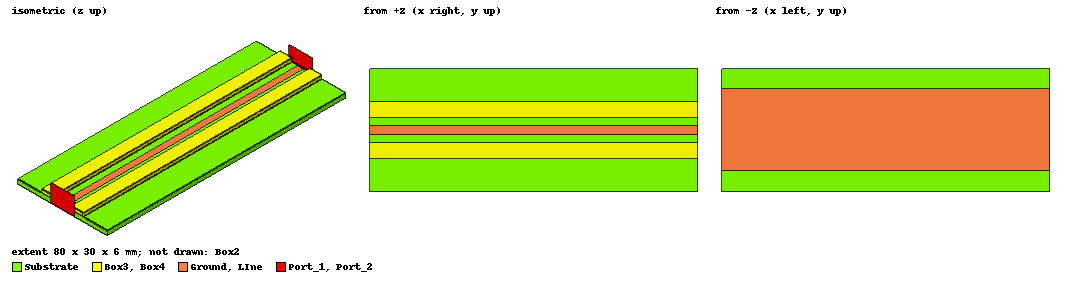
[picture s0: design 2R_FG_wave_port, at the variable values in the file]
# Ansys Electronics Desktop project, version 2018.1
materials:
  PMLGroup1_XYZ_1: permittivity{anisotropic component1=1.5040966 component2=1.5040966 component3=1.5040966} permeability{anisotropic component1=1.5040966 component2=1.5040966 component3=1.5040966} dielectric_loss_tangent{anisotropic component1=1 component2=1 component3=1} magnetic_loss_tangent{anisotropic component1=1 component2=1 component3=1}
  PMLGroup1_XZ_1: permittivity{anisotropic component1=1 component2=0.01 component3=1} permeability{anisotropic component1=1 component2=0.01 component3=1} dielectric_loss_tangent{anisotropic component1=0 component2=452.4613 component3=0} magnetic_loss_tangent{anisotropic component1=0 component2=452.4613 component3=0}
  PMLGroup1_YZ_1: permittivity{anisotropic component1=0.01 component2=1 component3=1} permeability{anisotropic component1=0.01 component2=1 component3=1} dielectric_loss_tangent{anisotropic component1=452.4613 component2=0 component3=0} magnetic_loss_tangent{anisotropic component1=452.4613 component2=0 component3=0}
  PMLGroup1_Z_1: permittivity{anisotropic component1=1.5040966 component2=1.5040966 component3=0.33242546} permeability{anisotropic component1=1.5040966 component2=1.5040966 component3=0.33242546} dielectric_loss_tangent{anisotropic component1=1 component2=1 component3=-1} magnetic_loss_tangent{anisotropic component1=1 component2=1 component3=-1}
  vacuum: permittivity=1
  PMLGroup1_Z_2: permittivity{anisotropic component1=1.5040966 component2=1.5040966 component3=0.33242546} permeability{anisotropic component1=1.5040966 component2=1.5040966 component3=0.33242546} dielectric_loss_tangent{anisotropic component1=1 component2=1 component3=-1} magnetic_loss_tangent{anisotropic component1=1 component2=1 component3=-1}
  PMLGroup1_XZ_2: permittivity{anisotropic component1=1 component2=0.01 component3=1} permeability{anisotropic component1=1 component2=0.01 component3=1} dielectric_loss_tangent{anisotropic component1=0 component2=452.4613 component3=0} magnetic_loss_tangent{anisotropic component1=0 component2=452.4613 component3=0}
  PMLGroup1_YZ_2: permittivity{anisotropic component1=0.01 component2=1 component3=1} permeability{anisotropic component1=0.01 component2=1 component3=1} dielectric_loss_tangent{anisotropic component1=452.4613 component2=0 component3=0} magnetic_loss_tangent{anisotropic component1=452.4613 component2=0 component3=0}
  PMLGroup1_XYZ_2: permittivity{anisotropic component1=1.5040966 component2=1.5040966 component3=1.5040966} permeability{anisotropic component1=1.5040966 component2=1.5040966 component3=1.5040966} dielectric_loss_tangent{anisotropic component1=1 component2=1 component3=1} magnetic_loss_tangent{anisotropic component1=1 component2=1 component3=1}
  FR4_epoxy: permittivity=4.4 dielectric_loss_tangent=0.02
  Teflon (tm): permittivity=2.1 dielectric_loss_tangent=0.001

design sweat_bellyband (HFSS, DrivenModal, model units mm)
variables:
  w = 3mm
  l = 115mm
  slot_length = 20mm
  slot_width = 2.3mm
  w1 = 8mm
  gap = 0.8mm
  d = 10mm
  re = 0.8
  im = 1.5
  Xchip = -200ohm
  Rchip = 25ohm
  Ratio1 = 1
  Ra1 = 10mm
  Length = 81mm
  Ra2 = 8mm
  Ratio2 = 1
  R1 = 26mm
  R2 = 9mm
  width = 20mm
  w2 = 4mm
  L1 = 40mm
  w3 = 4mm
  g = 0.2mm
  Cs = 3.9pF
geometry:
  Rectangle1 = rectangle(corner=(0mm, 0mm, 0mm), x_size=width, y_size=length/2)
  Rectangle1.move(15.75mm, 0mm, 0.6mm)
  Rectangle1_1 = Rectangle1.duplicate_mirror(point=(0mm, 0mm, 0mm), normal=(0mm, -1mm, 0mm))
  Rectangle1.unite(Rectangle1_1)
  Rectangle5 = rectangle(corner=(15.75mm+w1, 0mm, 0.6mm), x_size=slot_width, y_size=slot_length/2)
  Rectangle5_1 = Rectangle5.duplicate_mirror(point=(0mm, 0mm, 0mm), normal=(0mm, -1mm, 0mm))
  Rectangle6 = rectangle(corner=(15.75mm, -1mm, 0.6mm), x_size=w1, y_size=gap)
  Rectangle1.subtract(Rectangle5, Rectangle5_1, Rectangle6)
  Rectangle7 = rectangle(corner=((15.75+3.35) mm, 0.4mm, 0.6mm), x_size=0.85mm, y_size=(-1+.2) mm)
  [Rectangle1, Rectangle7].rotate(axis=Y, angle=90deg)
  [Rectangle1, Rectangle7].move(112mm, 0mm, -560mm)
  Rectangle7.move(0mm, -0.5mm, 0mm)
  Rectangle7.move(0mm, 0mm, 2.95mm)
  Rectangle7.move(0mm, -0.1mm, 0mm)
  Rectangle7.move(0mm, 0mm, 0.4mm)
  RadiatingSurface [vacuum] = region(absolute_offset=83.333333mm on all sides)
  coordinate_system FaceCS1 = face of RadiatingSurface: Origin=RadiatingSurface.vertex(1 of 8) FaceID=RadiatingSurface.face(+z) AxisPosn=RadiatingSurface.vertex(2 of 8) WhichAxis=X
  PML_RadiatingSurface_1 [PMLGroup1_Z_2, oriented by FaceCS1] = sweep_along_normal(RadiatingSurface.face(+z), length=99.094494mm)
  coordinate_system FaceCS2 = face of RadiatingSurface: Origin=RadiatingSurface.vertex(5 of 8) FaceID=RadiatingSurface.face(-z) AxisPosn=RadiatingSurface.vertex(6 of 8) WhichAxis=X
  PML_RadiatingSurface_2 [PMLGroup1_Z_2, oriented by FaceCS2] = sweep_along_normal(RadiatingSurface.face(-z), length=99.094494mm)
  coordinate_system FaceCS3 = face of RadiatingSurface: Origin=RadiatingSurface.vertex(4 of 8) FaceID=RadiatingSurface.face(-y) AxisPosn=RadiatingSurface.vertex(7 of 8) WhichAxis=X
  PML_RadiatingSurface_3 [PMLGroup1_Z_2, oriented by FaceCS3] = sweep_along_normal(RadiatingSurface.face(-y), length=99.094494mm)
  coordinate_system FaceCS4 = face of RadiatingSurface: Origin=RadiatingSurface.vertex(3 of 8) FaceID=RadiatingSurface.face(-x) AxisPosn=RadiatingSurface.vertex(8 of 8) WhichAxis=X
  PML_RadiatingSurface_4 [PMLGroup1_Z_2, oriented by FaceCS4] = sweep_along_normal(RadiatingSurface.face(-x), length=99.094494mm)
  coordinate_system FaceCS5 = face of RadiatingSurface: Origin=RadiatingSurface.vertex(2 of 8) FaceID=RadiatingSurface.face(+y) AxisPosn=RadiatingSurface.vertex(5 of 8) WhichAxis=X
  PML_RadiatingSurface_5 [PMLGroup1_Z_2, oriented by FaceCS5] = sweep_along_normal(RadiatingSurface.face(+y), length=99.094494mm)
  coordinate_system FaceCS6 = face of RadiatingSurface: Origin=RadiatingSurface.vertex(1 of 8) FaceID=RadiatingSurface.face(+x) AxisPosn=RadiatingSurface.vertex(6 of 8) WhichAxis=X
  PML_RadiatingSurface_6 [PMLGroup1_Z_2, oriented by FaceCS6] = sweep_along_normal(RadiatingSurface.face(+x), length=99.094494mm)
  PML_RadiatingSurface_7 [PMLGroup1_XZ_2, oriented by FaceCS3] = sweep_along_normal(PML_RadiatingSurface_1.face(at (112.6, -123.833, -442.869)), length=99.094494mm)
  PML_RadiatingSurface_8 [PMLGroup1_XZ_2, oriented by FaceCS4] = sweep_along_normal(PML_RadiatingSurface_1.face(at (29.2667, 0, -442.869)), length=99.094494mm)
  PML_RadiatingSurface_9 [PMLGroup1_XZ_2, oriented by FaceCS5] = sweep_along_normal(PML_RadiatingSurface_1.face(at (112.6, 123.833, -442.869)), length=99.094494mm)
  PML_RadiatingSurface_10 [PMLGroup1_YZ_2, oriented by FaceCS1] = sweep_along_normal(PML_RadiatingSurface_1.face(at (195.933, 0, -442.869)), length=99.094494mm)
  coordinate_system FaceCS7 = face of RadiatingSurface: Origin=RadiatingSurface.vertex(6 of 8) FaceID=RadiatingSurface.face(-z) AxisPosn=RadiatingSurface.vertex(7 of 8) WhichAxis=X
  PML_RadiatingSurface_11 [PMLGroup1_YZ_2, oriented by FaceCS7] = sweep_along_normal(PML_RadiatingSurface_2.face(at (112.6, -123.833, -728.631)), length=99.094494mm)
  coordinate_system FaceCS8 = face of RadiatingSurface: Origin=RadiatingSurface.vertex(7 of 8) FaceID=RadiatingSurface.face(-z) AxisPosn=RadiatingSurface.vertex(8 of 8) WhichAxis=X
  PML_RadiatingSurface_12 [PMLGroup1_YZ_2, oriented by FaceCS8] = sweep_along_normal(PML_RadiatingSurface_2.face(at (29.2667, 0, -728.631)), length=99.094494mm)
  PML_RadiatingSurface_13 [PMLGroup1_XZ_2, oriented by FaceCS2] = sweep_along_normal(PML_RadiatingSurface_2.face(at (112.6, 123.833, -728.631)), length=99.094494mm)
  PML_RadiatingSurface_14 [PMLGroup1_YZ_2, oriented by FaceCS2] = sweep_along_normal(PML_RadiatingSurface_2.face(at (195.933, 0, -728.631)), length=99.094494mm)
  PML_RadiatingSurface_15 [PMLGroup1_YZ_2, oriented by FaceCS3] = sweep_along_normal(PML_RadiatingSurface_3.face(at (29.2667, -173.381, -585.75)), length=99.094494mm)
  PML_RadiatingSurface_16 [PMLGroup1_YZ_2, oriented by FaceCS6] = sweep_along_normal(PML_RadiatingSurface_3.face(at (195.933, -173.381, -585.75)), length=99.094494mm)
  PML_RadiatingSurface_17 [PMLGroup1_YZ_2, oriented by FaceCS4] = sweep_along_normal(PML_RadiatingSurface_4.face(at (-20.2806, 123.833, -585.75)), length=99.094494mm)
  PML_RadiatingSurface_18 [PMLGroup1_YZ_2, oriented by FaceCS5] = sweep_along_normal(PML_RadiatingSurface_5.face(at (195.933, 173.381, -585.75)), length=99.094494mm)
  PML_RadiatingSurface_19 [PMLGroup1_XYZ_2, oriented by FaceCS3] = sweep_along_normal(PML_RadiatingSurface_7.face(at (29.2667, -173.381, -442.869)), length=99.094494mm)
  PML_RadiatingSurface_20 [PMLGroup1_XYZ_2, oriented by FaceCS1] = sweep_along_normal(PML_RadiatingSurface_7.face(at (195.933, -173.381, -442.869)), length=99.094494mm)
  PML_RadiatingSurface_21 [PMLGroup1_XYZ_2, oriented by FaceCS4] = sweep_along_normal(PML_RadiatingSurface_8.face(at (-20.2806, 123.833, -442.869)), length=99.094494mm)
  PML_RadiatingSurface_22 [PMLGroup1_XYZ_2, oriented by FaceCS5] = sweep_along_normal(PML_RadiatingSurface_9.face(at (195.933, 173.381, -442.869)), length=99.094494mm)
  PML_RadiatingSurface_23 [PMLGroup1_XYZ_2, oriented by FaceCS8] = sweep_along_normal(PML_RadiatingSurface_11.face(at (29.2667, -173.381, -728.631)), length=99.094494mm)
  PML_RadiatingSurface_24 [PMLGroup1_XYZ_2, oriented by FaceCS7] = sweep_along_normal(PML_RadiatingSurface_11.face(at (195.933, -173.381, -728.631)), length=99.094494mm)
  coordinate_system FaceCS9 = face of RadiatingSurface: Origin=RadiatingSurface.vertex(8 of 8) FaceID=RadiatingSurface.face(-z) AxisPosn=RadiatingSurface.vertex(5 of 8) WhichAxis=X
  PML_RadiatingSurface_25 [PMLGroup1_XYZ_2, oriented by FaceCS9] = sweep_along_normal(PML_RadiatingSurface_12.face(at (-20.2806, 123.833, -728.631)), length=99.094494mm)
  PML_RadiatingSurface_26 [PMLGroup1_XYZ_2, oriented by FaceCS2] = sweep_along_normal(PML_RadiatingSurface_13.face(at (195.933, 173.381, -728.631)), length=99.094494mm)
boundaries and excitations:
  Imped1: Impedance Objects=Rectangle1 Resistance=re Reactance=im
  PML_radiation1: Radiation Faces=RadiatingSurface.face(+z) IsForPML
  PML_radiation2: Radiation Faces=RadiatingSurface.face(-z) IsForPML
  PML_radiation3: Radiation Faces=RadiatingSurface.face(-y) IsForPML
  PML_radiation4: Radiation Faces=RadiatingSurface.face(-x) IsForPML
  PML_radiation5: Radiation Faces=RadiatingSurface.face(+y) IsForPML
  PML_radiation6: Radiation Faces=RadiatingSurface.face(+x) IsForPML
  1: Lumped Port Objects=Rectangle7 Modes{Mode1{IntLine{middle of Rectangle7.edge(3 of 4) -> middle of Rectangle7.edge(1 of 4)} CharImp=Zpi RenormImp=50ohm}} Impedance="(25-1i*200) ohm"
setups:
  Setup1: HfssDriven Frequency=0.9GHz MaxDeltaS=0.02 MaximumPasses=20 MinimumPasses=1 MinimumConvergedPasses=1 PercentRefinement=20 BasisOrder=-1 DoLambdaRefine=false Target=0.3333 PortAccuracy=2
    sweep Sweep: 0.8GHz to 1.2GHz step 0.1GHz; Type=Fast SaveFields
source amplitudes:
  1:1: 1W 0deg
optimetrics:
  ParametricSetup1: Parametric Sim._Setups=[Setup1]
    sweep re: LIN 0.1 1 0.05
  ParametricSetup2: Parametric Sim._Setups=[Setup1]
    sweep re: 0.81
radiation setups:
  3D: Infinite Sphere Theta=0deg..360deg step 2deg Phi=-180deg..180deg step 2deg
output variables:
  ref = 10*log10(1-(4*re(Z(1,1))*12)   /    (     pow(      mag(     Z(1,1)+cmplx(12,-121))    ,2)     )   )
  RCS = dB(gainTotal)*2 + 10*log10(( ((4*re(Z(1,1))*12)   / (  pow( mag( Z(1,1)+cmplx(12,-121))    ,2)     )   )    ))
  s11_diff = 20*ln(1 - 4*re(Z(1,1))*Rchip/mag(Z(1,1) + (Rchip+1i*Xchip))^2)
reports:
  Antenna Params Table 1: RadiationEfficiency vs Freq on Setup1 : Sweep [Freq=0.9GHz re=0.1,0.2,0.3,0.4,0.5,0.6,0.7,0.8,0.9,1]
  Realized Gain Table 1: dB(RealizedGainTotal) vs Freq on Setup1 : Sweep, 3D [Freq=0.9GHz Phi=0deg Theta=90deg re=0.51,0.62,0.71,0.78,0.81]

design 2R_FG_wave_port (HFSS, DrivenModal, model units mm)
options: Calculate_Lossy_Dielectrics
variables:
  Gx = 250mm
  Gy = 250mm
  th = 1.5mm
  w = 4mm
  TL = 10mm  # Feed Width
  Bx = W*10
  para_L = 75mm
  d2 = (10*2.8) mm
  wing_h = 10mm
  d_h = 200mm
  sl = 4mm
  sw = 2mm
  EL = 15mm
  u = 0
  v = 0
  rad = 10mm
  slot_l = 30mm
  L = 80mm
  FL = 21.3mm
  FW = 12mm
  W2 = 2mm
  re = 0.2
  im = 1.5
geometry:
  Substrate [FR4_epoxy] = box(corner=(-L/2, -15mm, 0), size=(L, 30mm, -th))
  Box2 [vacuum] = box(corner=(-L/2, -Bx/2, -th*1.1), size=(L, Bx, 333mm/3))
  Ground = rectangle(corner=(-L/2, -2.5*W, -th), x_size=L, y_size=5*W)
  LIne = rectangle(corner=(-L/2, -W2/2, 0), x_size=L, y_size=W2)
  Port_1 = rectangle(corner=(L/2, -W, -th), y_size=W*2, z_size=th*4)
  Port_2 = rectangle(corner=(-L/2, -W, -th), y_size=W*2, z_size=th*4)
  Box3 [Teflon (tm)] = box(corner=(-L/2, 1.5*w2, 0mm), size=(L, w, 1.14mm))
  Box4 [Teflon (tm)] = box(corner=(-L/2, -1.5*w2, 0mm), size=(L, -w, 1.14mm))
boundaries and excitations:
  PerfE1: Perfect E Objects=Ground
  Rad1: Radiation Objects=Box2
  Imped1: Impedance Objects=LIne Resistance=re Reactance=im
  1: Wave Port Objects=Port_1 NumModes=3 Modes{Mode1{IntLine{LIne.edge(x opposite corner) at 0.4 along -> Port_1.face} CharImp=Zpi RenormImp=50ohm} Mode2{CharImp=Zpi RenormImp=50ohm} Mode3{CharImp=Zpi RenormImp=50ohm}}
  2: Wave Port Objects=Port_2 NumModes=3 Modes{Mode1{IntLine{LIne.edge(x at corner) at 0.25 along -> Port_2.edge(z at corner) at 0.562 along} CharImp=Zpi RenormImp=50ohm} Mode2{CharImp=Zpi RenormImp=50ohm} Mode3{CharImp=Zpi RenormImp=50ohm}}
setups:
  Setup1: HfssDriven Frequency=3GHz MaxDeltaS=0.01 MaximumPasses=30 MinimumPasses=1 MinimumConvergedPasses=1 PercentRefinement=30 BasisOrder=1 PortAccuracy=2
    sweep Sweep: 0.5GHz to 3GHz step 0.01GHz; Type=Fast SaveFields
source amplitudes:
  1:1: 1W 0deg
  1:2, 1:3, 2:1, 2:2, 2:3: 0W 0deg
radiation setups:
  Infinite Sphere1: Infinite Sphere Theta=0deg..360deg step 2deg Phi=-180deg..180deg step 2deg
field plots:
  Mag_E1: E Field in Substrate on Setup1 : Sweep at Freq=0.9GHz Phase=0deg
  GND: Jsurf over Ground.face on Setup1 : Sweep at Freq=0.9GHz Phase=0deg
  Top: Jsurf over LIne.face on Setup1 : Sweep at Freq=0.9GHz Phase=0deg
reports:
  S Parameter Plot 1: dB(S(2,1)), ang_deg(S(2,1)) vs Freq on Setup1 : Sweep; markers m1 at 0.87GHz, MX1 at x=2.0104895e+09, MX2 at x=9.0034965e+08
  Antenna Params Table 1: RadiationEfficiency vs Freq on Setup1 : Sweep [Freq=0.89GHz,0.9GHz,0.91GHz,0.92GHz,0.93GHz re=all]
